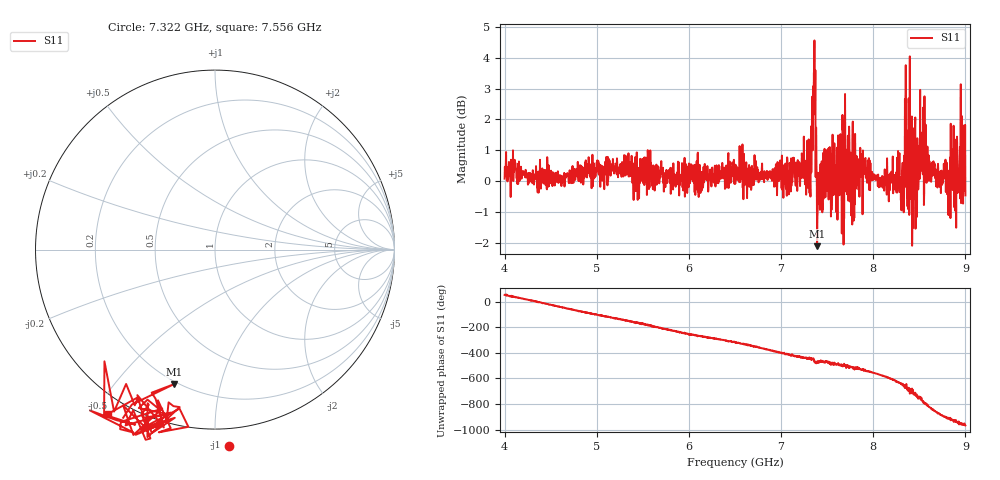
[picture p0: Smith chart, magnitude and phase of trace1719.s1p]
! Created with skrf 1.8.0 (http://scikit-rf.org).
# Hz S RI R 50.0
!freq ReS11 ImS11
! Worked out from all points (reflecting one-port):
!   1601 points, 4 GHz to 9 GHz, reference 50 ohm
!   lowest |S11| = -2.1 dB at 7.391 GHz (marker M1), VSWR 8.24, Z = 9.32 - j36.2 ohm
!   phase of S11 starts at 52 deg and turns -1018 deg over the sweep
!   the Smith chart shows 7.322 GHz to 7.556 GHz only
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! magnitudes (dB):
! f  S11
! 4 GHz  0.1
! 4.625 GHz  -0.1
! 5.25 GHz  0.3
! 5.875 GHz  0.1
! 6.5 GHz  0.3
! 7.125 GHz  0.4
! 7.294 GHz  0.1
! 7.356 GHz  3.5
! 7.391 GHz  -2.1
! 7.412 GHz  -0.2
! 7.512 GHz  1.0
! 7.588 GHz  0.5
! 7.688 GHz  1.6
! 7.75 GHz  -0.7
! 7.769 GHz  -0.5
! 7.822 GHz  -0.1
! 7.891 GHz  0.5
! 8.097 GHz  0.2
! 8.262 GHz  -0.4
! 8.306 GHz  -1.0
! 8.338 GHz  0.8
! 8.375 GHz  0.6
! 8.447 GHz  1.7
! 8.522 GHz  1.4
! 8.603 GHz  0.8
! 8.812 GHz  0.3
! 8.972 GHz  0.2
! 9 GHz  -0.5
